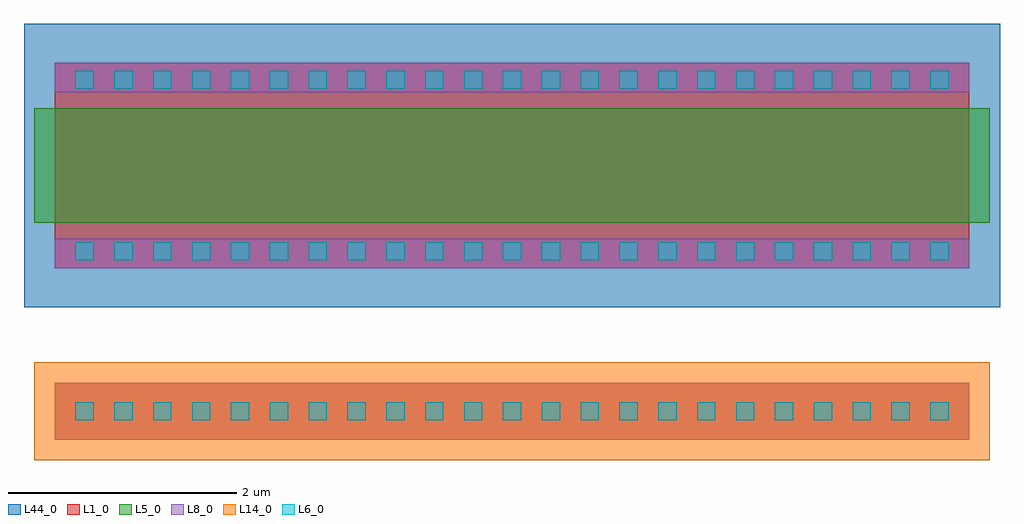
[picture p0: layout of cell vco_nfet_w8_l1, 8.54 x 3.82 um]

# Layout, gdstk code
import gdstk
lib = gdstk.Library(unit=1e-6, precision=1e-09)
def R(c, l, rs):  # rectangles x0, y0, x1, y1
    for r in rs: c.add(gdstk.rectangle(r[:2], r[2:], *l))
def A(c, l, x, y, w, h, nx, ny, dx, dy):  # array of equal rectangles
    R(c, l, [(x+i*dx, y+j*dy, x+i*dx+w, y+j*dy+h) for i in range(nx) for j in range(ny)])
L1_0 = (1, 0)
L5_0 = (5, 0)
L6_0 = (6, 0)
L8_0 = (8, 0)
L14_0 = (14, 0)
L44_0 = (44, 0)

vco_nfet_w8_l1 = lib.new_cell('vco_nfet_w8_l1')
R(vco_nfet_w8_l1, L1_0, [(0.89,0.96,8.89,1.46), (0.89,2.46,8.89,4.26)])
R(vco_nfet_w8_l1, L5_0, [(0.71,2.86,9.07,3.86)])
A(vco_nfet_w8_l1, L6_0, 1.07, 1.13, 0.16, 0.16, 23, 2, 0.34, 1.4)
A(vco_nfet_w8_l1, L6_0, 1.07, 4.03, 0.16, 0.16, 23, 1, 0.34, 0)
R(vco_nfet_w8_l1, L8_0, [(0.89,0.96,8.89,1.46), (0.89,2.46,8.89,2.72), (0.89,4,8.89,4.26)])
R(vco_nfet_w8_l1, L14_0, [(0.71,0.78,9.07,1.64)])
R(vco_nfet_w8_l1, L44_0, [(0.62,2.12,9.16,4.6)])

lib.write_gds('vco_nfet_w8_l1.gds')
